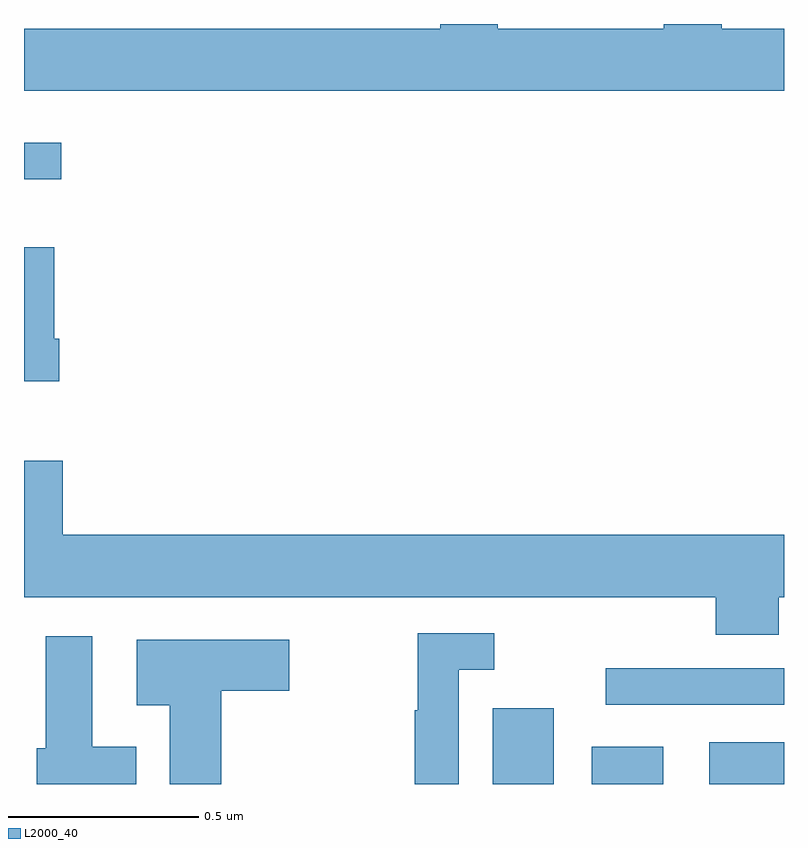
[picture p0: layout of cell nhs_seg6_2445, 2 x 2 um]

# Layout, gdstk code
import gdstk
lib = gdstk.Library(unit=1e-6, precision=1e-09)
def R(c, l, rs):  # rectangles x0, y0, x1, y1
    for r in rs: c.add(gdstk.rectangle(r[:2], r[2:], *l))
def P(c, l, *ps):  # polygons
    for p in ps: c.add(gdstk.Polygon(p, *l))
L2000_40 = (2000, 40)

nhs_seg6_2445 = lib.new_cell('nhs_seg6_2445')
R(nhs_seg6_2445, L2000_40, [(144.233,957.5,144.394,957.7), (144.494,957.5,144.682,957.598), (144.803,957.5,145,957.61), (144.531,957.708,145,957.804), (143,959.091,143.098,959.188)])
P(nhs_seg6_2445, L2000_40, [(145,959.488),(144.836,959.488),(144.836,959.5),(144.683,959.5),(144.683,959.488),(144.247,959.488),(144.247,959.5),(144.095,959.5),(144.095,959.488),(143,959.488),(143,959.324),(145,959.324)],
  [(143.093,958.672),(143.08,958.672),(143.08,958.912),(143,958.912),(143,958.56),(143.093,958.56)],
  [(144.986,957.992),(145,957.992),(145,958.156),(143.102,958.156),(143.102,958.351),(143,958.351),(143,957.992),(144.821,957.992),(144.821,957.893),(144.986,957.893)],
  [(144.144,957.801),(144.238,957.801),(144.238,957.897),(144.036,957.897),(144.036,957.694),(144.028,957.694),(144.028,957.5),(144.144,957.5)],
  [(143.296,957.598),(143.179,957.598),(143.179,957.889),(143.057,957.889),(143.057,957.594),(143.033,957.594),(143.033,957.5),(143.296,957.5)],
  [(143.519,957.746),(143.698,957.746),(143.698,957.88),(143.297,957.88),(143.297,957.707),(143.384,957.707),(143.384,957.5),(143.519,957.5)])

lib.write_gds('nhs_seg6_2445.gds')
